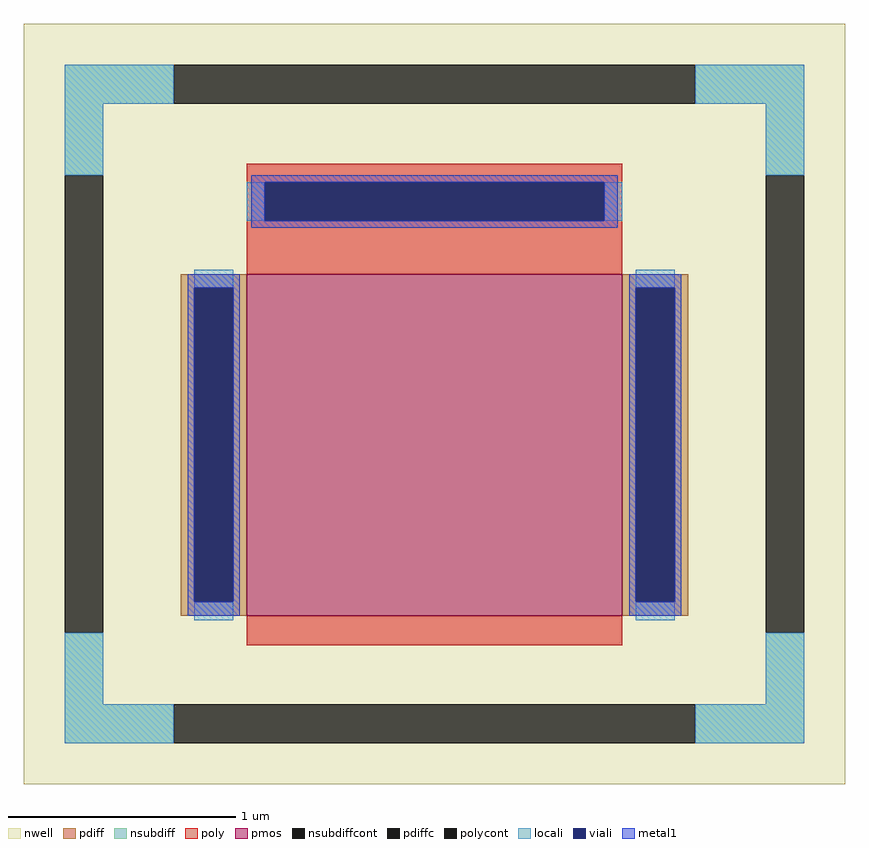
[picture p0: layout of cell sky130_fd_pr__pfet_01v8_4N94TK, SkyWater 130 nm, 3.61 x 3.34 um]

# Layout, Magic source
magic
tech sky130A
magscale 1 2
<< nwell >>
rect -361 -334 361 334
<< pmos >>
rect -165 -186 165 114
<< pdiff >>
rect -223 102 -165 114
rect -223 -174 -211 102
rect -177 -174 -165 102
rect -223 -186 -165 -174
rect 165 102 223 114
rect 165 -174 177 102
rect 211 -174 223 102
rect 165 -186 223 -174
<< pdiffc >>
rect -211 -174 -177 102
rect 177 -174 211 102
<< nsubdiff >>
rect -325 264 -229 298
rect 229 264 325 298
rect -325 201 -291 264
rect 291 201 325 264
rect -325 -264 -291 -201
rect 291 -264 325 -201
rect -325 -298 -229 -264
rect 229 -298 325 -264
<< nsubdiffcont >>
rect -229 264 229 298
rect -325 -201 -291 201
rect 291 -201 325 201
rect -229 -298 229 -264
<< poly >>
rect -165 195 165 211
rect -165 161 -149 195
rect 149 161 165 195
rect -165 114 165 161
rect -165 -212 165 -186
<< polycont >>
rect -149 161 149 195
<< locali >>
rect -325 264 -229 298
rect 229 264 325 298
rect -325 201 -291 264
rect 291 201 325 264
rect -165 161 -149 195
rect 149 161 165 195
rect -211 102 -177 118
rect -211 -190 -177 -174
rect 177 102 211 118
rect 177 -190 211 -174
rect -325 -264 -291 -201
rect 291 -264 325 -201
rect -325 -298 -229 -264
rect 229 -298 325 -264
<< viali >>
rect -149 161 149 195
rect -211 -174 -177 102
rect 177 -174 211 102
<< metal1 >>
rect -161 195 161 201
rect -161 161 -149 195
rect 149 161 161 195
rect -161 155 161 161
rect -217 102 -171 114
rect -217 -174 -211 102
rect -177 -174 -171 102
rect -217 -186 -171 -174
rect 171 102 217 114
rect 171 -174 177 102
rect 211 -174 217 102
rect 171 -186 217 -174
<< properties >>
string FIXED_BBOX -308 -281 308 281
string gencell sky130_fd_pr__pfet_01v8
string library sky130
string parameters w 1.5 l 1.65 m 1 nf 1 diffcov 100 polycov 100 guard 1 glc 1 grc 1 gtc 1 gbc 1 tbcov 100 rlcov 100 topc 1 botc 0 poverlap 0 doverlap 1 lmin 0.15 wmin 0.42 compatible {sky130_fd_pr__pfet_01v8  sky130_fd_pr__pfet_01v8_lvt sky130_fd_pr__pfet_01v8_hvt  sky130_fd_pr__pfet_g5v0d10v5} full_metal 1 viasrc 100 viadrn 100 viagate 100 viagb 0 viagr 0 viagl 0 viagt 0
<< end >>
